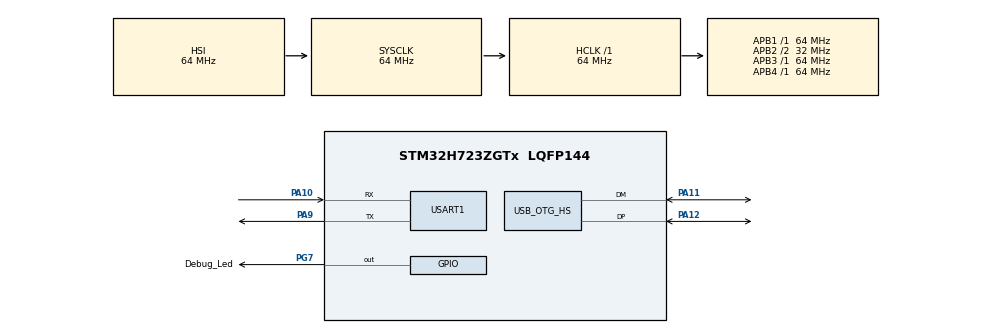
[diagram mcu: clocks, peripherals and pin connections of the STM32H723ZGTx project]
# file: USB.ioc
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CORTEX_M7.default_mode_Activation=1
Mcu.Family=STM32H7
Mcu.Name=STM32H723ZGTx
Mcu.Package=LQFP144
NVIC.OTG_HS_EP1_IN_IRQn=true\:0\:0\:false\:false\:true\:true\:true\:true
NVIC.OTG_HS_EP1_OUT_IRQn=true\:0\:0\:false\:false\:true\:true\:true\:true
NVIC.OTG_HS_IRQn=true\:0\:0\:false\:false\:true\:true\:true\:true
NVIC.PriorityGroup=NVIC_PRIORITYGROUP_4
PA10.Mode=Asynchronous
PA10.Signal=USART1_RX
PA11.Mode=Host_FS
PA11.Signal=USB_OTG_HS_DM
PA12.Mode=Host_FS
PA12.Signal=USB_OTG_HS_DP
PA13(JTMS/SWDIO).Mode=Serial_Wire
PA13(JTMS/SWDIO).Signal=DEBUG_JTMS-SWDIO
PA14(JTCK/SWCLK).Mode=Serial_Wire
PA14(JTCK/SWCLK).Signal=DEBUG_JTCK-SWCLK
PA9.Mode=Asynchronous
PA9.Signal=USART1_TX
PG7.GPIO_Label=Debug_Led
PG7.Signal=GPIO_Output
ProjectManager.HeapSize=0x200
ProjectManager.StackSize=0x400
ProjectManager.TargetToolchain=STM32CubeIDE
RCC.ADCFreq_Value=129000000
RCC.APB1Freq_Value=64000000
RCC.APB2Freq_Value=32000000
RCC.APB3Freq_Value=64000000
RCC.APB4Freq_Value=64000000
RCC.CortexFreq_Value=64000000
RCC.D2PPRE2=RCC_APB2_DIV2
RCC.HCLKFreq_Value=64000000
RCC.SYSCLKFreq_VALUE=64000000
RCC.USBCLockSelection=RCC_USBCLKSOURCE_HSI48
RCC.USBFreq_Value=48000000
USART1.VirtualMode-Asynchronous=VM_ASYNC
USB_HOST.SW_VBUS_DRIVE_HID_HS=false
USB_HOST.USBH_HandleTypeDef=hUsbHostHS
USB_HOST.VirtualModeHS=Hid
USB_OTG_HS.VirtualMode-Host_FS=Host_FS
VP_MEMORYMAP_VS_MEMORYMAP.Mode=CurAppReg
VP_USB_HOST_VS_USB_HOST_HID_HS.Mode=HID_HS
board=custom

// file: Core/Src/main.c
/* USER CODE BEGIN Header */
/**
  ******************************************************************************
  * @file           : main.c
  * @brief          : Main program body
  ******************************************************************************
  * @attention
  *
  * Copyright (c) 2025 STMicroelectronics.
  * All rights reserved.
  *
  * This software is licensed under terms that can be found in the LICENSE file
  * in the root directory of this software component.
  * If no LICENSE file comes with this software, it is provided AS-IS.
  *
  ******************************************************************************
  */
/* USER CODE END Header */
#include "main.h"
#include "usb_host.h"

/* USER CODE BEGIN Includes */
#include "usbh_hid.h"
#include <stdio.h>
/* USER CODE END Includes */

UART_HandleTypeDef huart1;

void SystemClock_Config(void);
static void MPU_Config(void);
static void MX_GPIO_Init(void);
static void MX_USART1_UART_Init(void);
void MX_USB_HOST_Process(void);

/* USER CODE BEGIN PFP */
uint8_t Uart_Buf[50];
/* USER CODE END PFP */

/* USER CODE BEGIN 0 */
void USBH_HID_EventCallback(USBH_HandleTypeDef *phost)
{
	if(USBH_HID_GetDeviceType(phost) == HID_MOUSE)  // if the HID is Mouse
	{
		HID_MOUSE_Info_TypeDef *Mouse_Info;
		Mouse_Info = USBH_HID_GetMouseInfo(phost);  // Get the info
		int X_Val = Mouse_Info->x;  // get the x value
		int Y_Val = Mouse_Info->y;  // get the y value
		if (X_Val > 127) X_Val -= 255;
		if (Y_Val > 127) Y_Val -= 255;
		int len = sprintf (Uart_Buf, "X=%d, Y=%d, Button1=%d, Button2=%d, Button3=%d\n", X_Val, Y_Val, \
				                                Mouse_Info->buttons[0],Mouse_Info->buttons[1], Mouse_Info->buttons[2]);
		HAL_UART_Transmit(&huart1, (uint8_t *) Uart_Buf, len, 100);
	}

	if(USBH_HID_GetDeviceType(phost) == HID_KEYBOARD)  // if the HID is Mouse
	{
		uint8_t key;
		HID_KEYBD_Info_TypeDef *Keyboard_Info;
		Keyboard_Info = USBH_HID_GetKeybdInfo(phost);  // get the info
		key = USBH_HID_GetASCIICode(Keyboard_Info);  // get the key pressed
		int len = sprintf (Uart_Buf, "Key Pressed = %c\n", key);
		HAL_UART_Transmit(&huart1, (uint8_t *) Uart_Buf, len, 100);
	}
}
/* USER CODE END 0 */

int main(void)
{

  /* MPU Configuration--------------------------------------------------------*/
  MPU_Config();

  /* MCU Configuration--------------------------------------------------------*/

  /* Reset of all peripherals, Initializes the Flash interface and the Systick. */
  HAL_Init();

  /* Configure the system clock */
  SystemClock_Config();

  /* Initialize all configured peripherals */
  MX_GPIO_Init();
  MX_USB_HOST_Init();
  MX_USART1_UART_Init();

  /* Infinite loop */
  /* USER CODE BEGIN WHILE */
  while (1)
  {
	  HAL_GPIO_TogglePin(GPIOG, GPIO_PIN_7);
	  //CDC_Transmit_HS("xuantruong\n", 11);
	  HAL_Delay(2000);
    /* USER CODE END WHILE */
    MX_USB_HOST_Process();

  }
}

void SystemClock_Config(void)
{
  RCC_OscInitTypeDef RCC_OscInitStruct = {0};
  RCC_ClkInitTypeDef RCC_ClkInitStruct = {0};

  /** Supply configuration update enable
  */
  HAL_PWREx_ConfigSupply(PWR_LDO_SUPPLY);

  /** Configure the main internal regulator output voltage
  */
  __HAL_PWR_VOLTAGESCALING_CONFIG(PWR_REGULATOR_VOLTAGE_SCALE3);

  while(!__HAL_PWR_GET_FLAG(PWR_FLAG_VOSRDY)) {}

  /** Initializes the RCC Oscillators according to the specified parameters
  * in the RCC_OscInitTypeDef structure.
  */
  RCC_OscInitStruct.OscillatorType = RCC_OSCILLATORTYPE_HSI48|RCC_OSCILLATORTYPE_HSI;
  RCC_OscInitStruct.HSIState = RCC_HSI_DIV1;
  RCC_OscInitStruct.HSICalibrationValue = 64;
  RCC_OscInitStruct.HSI48State = RCC_HSI48_ON;
  RCC_OscInitStruct.PLL.PLLState = RCC_PLL_NONE;
  if (HAL_RCC_OscConfig(&RCC_OscInitStruct) != HAL_OK)
  {
    Error_Handler();
  }

  /** Initializes the CPU, AHB and APB buses clocks
  */
  RCC_ClkInitStruct.ClockType = RCC_CLOCKTYPE_HCLK|RCC_CLOCKTYPE_SYSCLK
                              |RCC_CLOCKTYPE_PCLK1|RCC_CLOCKTYPE_PCLK2
                              |RCC_CLOCKTYPE_D3PCLK1|RCC_CLOCKTYPE_D1PCLK1;
  RCC_ClkInitStruct.SYSCLKSource = RCC_SYSCLKSOURCE_HSI;
  RCC_ClkInitStruct.SYSCLKDivider = RCC_SYSCLK_DIV1;
  RCC_ClkInitStruct.AHBCLKDivider = RCC_HCLK_DIV1;
  RCC_ClkInitStruct.APB3CLKDivider = RCC_APB3_DIV1;
  RCC_ClkInitStruct.APB1CLKDivider = RCC_APB1_DIV1;
  RCC_ClkInitStruct.APB2CLKDivider = RCC_APB2_DIV2;
  RCC_ClkInitStruct.APB4CLKDivider = RCC_APB4_DIV1;

  if (HAL_RCC_ClockConfig(&RCC_ClkInitStruct, FLASH_LATENCY_1) != HAL_OK)
  {
    Error_Handler();
  }
}

static void MX_USART1_UART_Init(void)
{

  huart1.Instance = USART1;
  huart1.Init.BaudRate = 115200;
  huart1.Init.WordLength = UART_WORDLENGTH_8B;
  huart1.Init.StopBits = UART_STOPBITS_1;
  huart1.Init.Parity = UART_PARITY_NONE;
  huart1.Init.Mode = UART_MODE_TX_RX;
  huart1.Init.HwFlowCtl = UART_HWCONTROL_NONE;
  huart1.Init.OverSampling = UART_OVERSAMPLING_16;
  huart1.Init.OneBitSampling = UART_ONE_BIT_SAMPLE_DISABLE;
  huart1.Init.ClockPrescaler = UART_PRESCALER_DIV1;
  huart1.AdvancedInit.AdvFeatureInit = UART_ADVFEATURE_NO_INIT;
  if (HAL_UART_Init(&huart1) != HAL_OK)
  {
    Error_Handler();
  }
  if (HAL_UARTEx_SetTxFifoThreshold(&huart1, UART_TXFIFO_THRESHOLD_1_8) != HAL_OK)
  {
    Error_Handler();
  }
  if (HAL_UARTEx_SetRxFifoThreshold(&huart1, UART_RXFIFO_THRESHOLD_1_8) != HAL_OK)
  {
    Error_Handler();
  }
  if (HAL_UARTEx_DisableFifoMode(&huart1) != HAL_OK)
  {
    Error_Handler();
  }

}

static void MX_GPIO_Init(void)
{
  GPIO_InitTypeDef GPIO_InitStruct = {0};

  /* GPIO Ports Clock Enable */
  __HAL_RCC_GPIOG_CLK_ENABLE();
  __HAL_RCC_GPIOA_CLK_ENABLE();

  /*Configure GPIO pin Output Level */
  HAL_GPIO_WritePin(Debug_Led_GPIO_Port, Debug_Led_Pin, GPIO_PIN_RESET);

  /*Configure GPIO pin : Debug_Led_Pin */
  GPIO_InitStruct.Pin = Debug_Led_Pin;
  GPIO_InitStruct.Mode = GPIO_MODE_OUTPUT_PP;
  GPIO_InitStruct.Pull = GPIO_NOPULL;
  GPIO_InitStruct.Speed = GPIO_SPEED_FREQ_LOW;
  HAL_GPIO_Init(Debug_Led_GPIO_Port, &GPIO_InitStruct);

}

 /* MPU Configuration */

void MPU_Config(void)
{
  MPU_Region_InitTypeDef MPU_InitStruct = {0};

  /* Disables the MPU */
  HAL_MPU_Disable();

  /** Initializes and configures the Region and the memory to be protected
  */
  MPU_InitStruct.Enable = MPU_REGION_ENABLE;
  MPU_InitStruct.Number = MPU_REGION_NUMBER0;
  MPU_InitStruct.BaseAddress = 0x0;
  MPU_InitStruct.Size = MPU_REGION_SIZE_4GB;
  MPU_InitStruct.SubRegionDisable = 0x87;
  MPU_InitStruct.TypeExtField = MPU_TEX_LEVEL0;
  MPU_InitStruct.AccessPermission = MPU_REGION_NO_ACCESS;
  MPU_InitStruct.DisableExec = MPU_INSTRUCTION_ACCESS_DISABLE;
  MPU_InitStruct.IsShareable = MPU_ACCESS_SHAREABLE;
  MPU_InitStruct.IsCacheable = MPU_ACCESS_NOT_CACHEABLE;
  MPU_InitStruct.IsBufferable = MPU_ACCESS_NOT_BUFFERABLE;

  HAL_MPU_ConfigRegion(&MPU_InitStruct);
  /* Enables the MPU */
  HAL_MPU_Enable(MPU_PRIVILEGED_DEFAULT);

}

void Error_Handler(void)
{
  __disable_irq();
  while (1)
  {
  }
}
